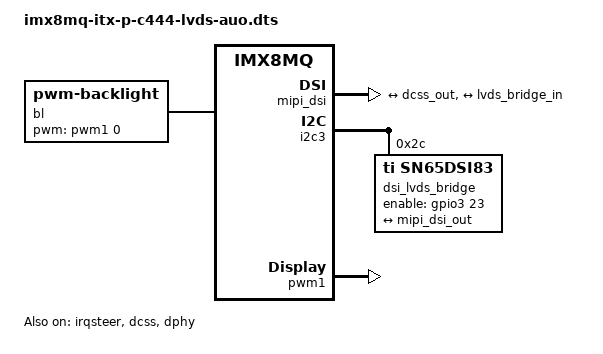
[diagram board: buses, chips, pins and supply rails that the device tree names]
/*
 * Copyright 2017 NXP
 *
 * This program is free software; you can redistribute it and/or
 * modify it under the terms of the GNU General Public License
 * as published by the Free Software Foundation; either version 2
 * of the License, or (at your option) any later version.
 *
 * This program is distributed in the hope that it will be useful,
 * but WITHOUT ANY WARRANTY; without even the implied warranty of
 * MERCHANTABILITY or FITNESS FOR A PARTICULAR PURPOSE.  See the
 * GNU General Public License for more details.
 */

#include "imx8mq-itx-p-c444.dts"


&irqsteer {
        status = "okay";
};

/delete-node/ &hdmi;

/ {
	bl: backlight {
		compatible = "pwm-backlight";
		pwms = <&pwm1 0 5000000 0>;
		brightness-levels = < 0  1  2  3  4  5  6  7  8  9
				     10 11 12 13 14 15 16 17 18 19
				     20 21 22 23 24 25 26 27 28 29
				     30 31 32 33 34 35 36 37 38 39
				     40 41 42 43 44 45 46 47 48 49
				     50 51 52 53 54 55 56 57 58 59
				     60 61 62 63 64 65 66 67 68 69
				     70 71 72 73 74 75 76 77 78 79
				     80 81 82 83 84 85 86 87 88 89
				     90 91 92 93 94 95 96 97 98 99
				    100>;
		default-brightness-level = <80>;
		status = "okay";
	};

	sound-hdmi {
		status = "disabled";
	};
};

&lcdif {
        status = "disabled";
};

&dcss {
    status = "okay";
//    disp-dev = "mipi_disp";

    clocks = <&clk IMX8MQ_CLK_DISP_APB_ROOT>,
         <&clk IMX8MQ_CLK_DISP_AXI_ROOT>,
         <&clk IMX8MQ_CLK_DISP_RTRM_ROOT>,
         <&clk IMX8MQ_CLK_DC_PIXEL>,
         <&clk IMX8MQ_CLK_DUMMY>,
         <&clk IMX8MQ_CLK_DISP_DTRC>;
    clock-names = "apb", "axi", "rtrm", "pix", "pix_out", "dtrc";

    assigned-clocks = <&clk IMX8MQ_CLK_DC_PIXEL>,
              <&clk IMX8MQ_CLK_DISP_AXI>,
              <&clk IMX8MQ_CLK_DISP_RTRM>,
              <&clk IMX8MQ_VIDEO_PLL1_REF_SEL>,
              <&clk IMX8MQ_VIDEO_PLL1>;
    assigned-clock-parents = <&clk IMX8MQ_VIDEO_PLL1_OUT>,
                 <&clk IMX8MQ_SYS1_PLL_800M>,
                 <&clk IMX8MQ_SYS1_PLL_800M>,
                 <&clk IMX8MQ_CLK_25M>;
    assigned-clock-rates = <600000000>,
                   <800000000>,
                   <0>,
                   <400000000>,
                   <599999999>;

    port@0 {
        dcss_out: endpoint {
            remote-endpoint = <&mipi_dsi_in>;
        };
    };
};

&dphy {
	status = "okay";
};

&mipi_dsi {
	status = "okay";
	/*
	assigned-clocks = <&clk IMX8MQ_CLK_DSI_PHY_REF>,
		<&clk IMX8MQ_CLK_DSI_CORE>,
		<&clk IMX8MQ_VIDEO_PLL1_REF_SEL>,
		<&clk IMX8MQ_VIDEO_PLL1>;
	assigned-clock-parents = <&clk IMX8MQ_VIDEO_PLL1_OUT>,
                <&clk IMX8MQ_SYS1_PLL_266M>,
                <&clk IMX8MQ_CLK_25M>;
	assigned-clock-rates = <24000000>,
                <266000000>,
                <0>,
                <599999999>;
	*/
	
	ports {
	        #address-cells = <1>;
	        #size-cells = <0>;
	
	        port@0 {
	               reg = <0>;
	               mipi_dsi_in: endpoint {
	                        remote-endpoint = <&dcss_out>;
	               };
	        };
	
	
		port@1 {
			reg = <1>;
			mipi_dsi_out: endpoint {
				remote-endpoint = <&lvds_bridge_in>;
			};
		};
	};

};


&i2c3 {
	dsi_lvds_bridge: sn65dsi83@2c {
		compatible = "ti,sn65dsi83";
		reg = <0x2c>;
		ti,dsi-lanes = <4>;
		ti,lvds-format = <1>;
		ti,lvds-bpp = <24>;
		ti,width-mm = <245>;
		ti,height-mm = <184>;
		enable-gpios = <&gpio3 23 GPIO_ACTIVE_HIGH>;
		pinctrl-names = "default";
		pinctrl-0 = <&pinctrl_lvds_bridge_en>;
		status = "okay";

		display-timings {
			native-mode = <&timing0>;
			timing0: 1024x768_60Hz {
				clock-frequency = <65000000>;
				hactive = <1024>;
				vactive = <768>;
				hback-porch = <156>;
				hfront-porch = <156>;
				vback-porch = <16>;
				vfront-porch = <16>;
				hsync-len = <8>;
				vsync-len = <6>;
				de-active = <1>;
			};
		};

		port@0 {
			lvds_bridge_in: endpoint {
				remote-endpoint = <&mipi_dsi_out>;
			};
		};
	};
};

lvds_backlight: &pwm1 {
	status = "okay";
	pinctrl-names = "default";
	pinctrl-0 = <&pinctrl_backligth_pwm1>;
};

&iomuxc {
		pinctrl_backligth_pwm1: backligth_pwm1 {
			fsl,pins = <
				/* BCKLT_PWM_3V3 */
				MX8MQ_IOMUXC_SPDIF_EXT_CLK_PWM1_OUT	0x16
				/* BCKLT_EN_3V3 */
				MX8MQ_IOMUXC_SPDIF_TX_GPIO5_IO3		0x59
				/* 12V_EN */
				MX8MQ_IOMUXC_NAND_CE1_B_GPIO3_IO2	0x59
			>;
		};

		/* Use the LVDS bridge EN Pin for the SN65DSI83 Reset */
		pinctrl_lvds_bridge_en: lvds_bridge_en {
			fsl,pins = <
				/* LVDS_EN_1V8 */
				MX8MQ_IOMUXC_SAI5_RXD2_GPIO3_IO23	0x16
				/* LVDS_IRQ_1V8to3V3 */
				MX8MQ_IOMUXC_SAI5_RXD3_GPIO3_IO24	0x16
				/* SEL68_3V3 */
				MX8MQ_IOMUXC_SAI5_RXD1_GPIO3_IO22	0x16
			>;
		};
};

